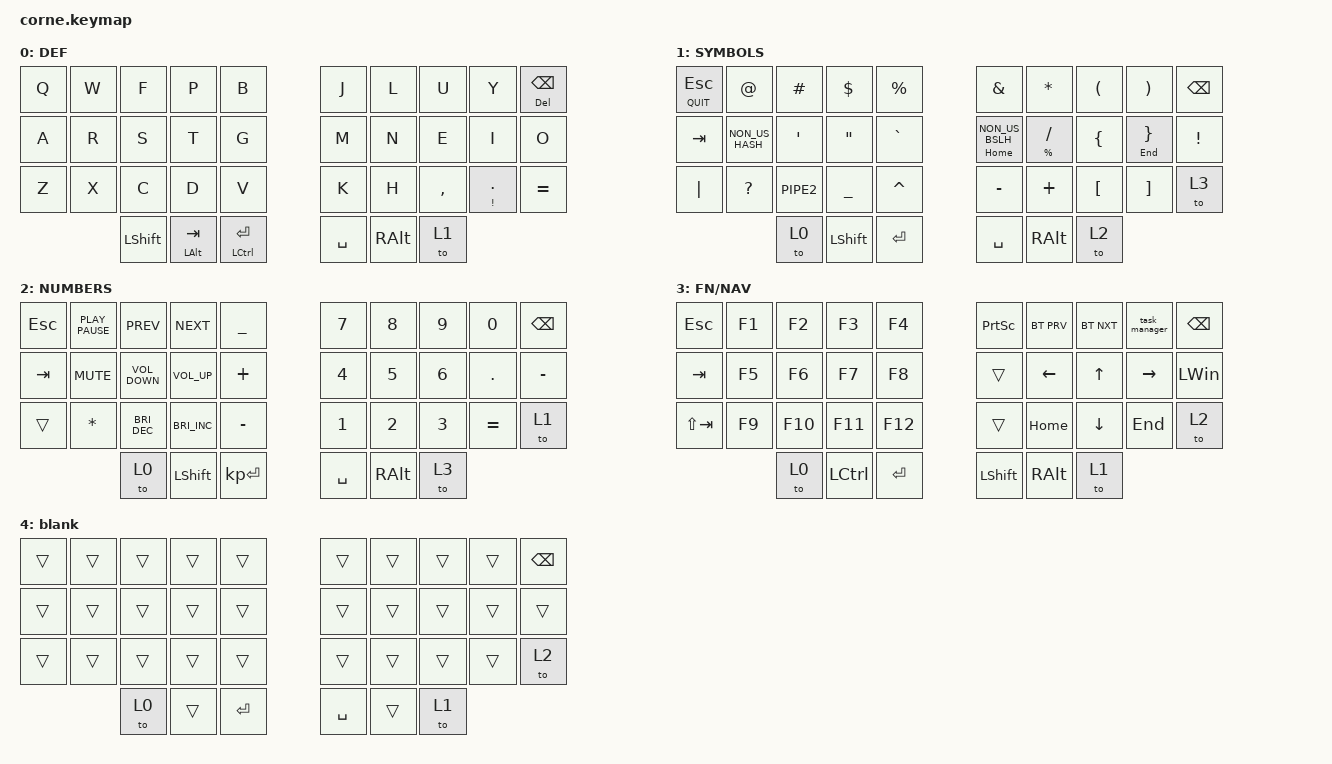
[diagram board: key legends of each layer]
/*
 * Copyright (c) 2020 The ZMK Contributors
 *
 * SPDX-License-Identifier: MIT
 */

#include <behaviors.dtsi>
#include <dt-bindings/zmk/bt.h>
#include <dt-bindings/zmk/keys.h>

#define DEFAULT_L 0

/ {
    chosen { zmk,matrix_transform = &five_column_transform; };

    macros {
        gte: gte {
            compatible = "zmk,behavior-macro";
            #binding-cells = <0>;
            bindings = <&kp GT &kp EQUAL>;
            label = "GTE";
        };

        lte: lte {
            compatible = "zmk,behavior-macro";
            #binding-cells = <0>;
            bindings = <&kp LT &kp EQUAL>;
            label = "LTE";
        };

        and: and {
            compatible = "zmk,behavior-macro";
            #binding-cells = <0>;
            bindings = <&kp AMPS &kp AMPS>;
            label = "AND";
        };

        or: or {
            compatible = "zmk,behavior-macro";
            #binding-cells = <0>;
            bindings = <&kp PIPE &kp PIPE>;
            label = "OR";
        };

        euro: euro {
            compatible = "zmk,behavior-macro";
            #binding-cells = <0>;
            bindings = <&kp LC(LA(NUMBER_4))>;
            label = "EURO";
        };

        task_manager: task_manager {
            compatible = "zmk,behavior-macro";
            #binding-cells = <0>;
            bindings = <&kp LS(LC(ESCAPE))>;
            label = "TASK_MANAGER";
        };
    };

    combos {
        compatible = "zmk,combos";

        Semi-colon {
            bindings = <&kp SEMICOLON>;
            key-positions = <27 28>;
            layers = <0>;
        };

        lte {
            bindings = <&lte>;
            key-positions = <27 29>;
            layers = <0>;
        };

        gte {
            bindings = <&gte>;
            key-positions = <28 29>;
            layers = <0>;
        };

        Euro {
            bindings = <&euro>;
            key-positions = <2 3>;
            layers = <1>;
        };

        ctrl+alt+del {
            bindings = <&kp LA(LC(DELETE))>;
            key-positions = <33 34 9>;
        };

        lock {
            bindings = <&kp LG(L)>;
            key-positions = <32 33>;
        };

        colon {
            bindings = <&kp COLON>;
            key-positions = <30 28 27>;
            layers = <0>;
        };

        clipboard {
            bindings = <&kp LG(V)>;
            key-positions = <24 32 31>;
        };

        clear_bt {
            bindings = <&bt BT_CLR>;
            key-positions = <6 7>;
            layers = <3>;
        };
    };

    keymap {
        compatible = "zmk,keymap";

        ColemakDH {
            display-name = "DEF";
            bindings = <
  &kp Q  &kp W  &kp F       &kp P         &kp B              &kp J      &kp L     &kp U      &kp Y                   &mt DELETE BACKSPACE
  &kp A  &kp R  &kp S       &kp T         &kp G              &kp M      &kp N     &kp E      &kp I                   &kp O
  &kp Z  &kp X  &kp C       &kp D         &kp V              &kp K      &kp H     &kp COMMA  &mt EXCLAMATION PERIOD  &kp EQUAL
                &kp LSHIFT  &mt LALT TAB  &mt LCTRL ENTER    &kp SPACE  &kp RALT  &to 1
            >;
        };

        Symbols {
            display-name = "SYMBOLS";
            bindings = <
  &mt C_QUIT ESCAPE  &kp AT           &kp HASH        &kp DOLLAR         &kp PERCENT    &kp AMPERSAND         &kp ASTERISK       &kp LEFT_PARENTHESIS  &kp RIGHT_PARENTHESIS  &kp BACKSPACE
  &kp TAB            &kp NON_US_HASH  &kp APOSTROPHE  &kp DOUBLE_QUOTES  &kp GRAVE      &mt HOME NON_US_BSLH  &mt PERCENT SLASH  &kp LEFT_BRACE        &mt END RIGHT_BRACE    &kp EXCLAMATION
  &kp PIPE           &kp QUESTION     &kp PIPE2       &kp UNDERSCORE     &kp CARET      &kp MINUS             &kp PLUS           &kp LEFT_BRACKET      &kp RIGHT_BRACKET      &to 3
                                      &to 0           &kp LEFT_SHIFT     &kp ENTER      &kp SPACE             &kp RALT           &to 2
            >;
        };

        Numbers {
            display-name = "NUMBERS";
            bindings = <
  &kp ESC  &kp K_PLAY_PAUSE  &kp K_PREV            &kp K_NEXT            &kp UNDERSCORE    &kp N7     &kp N8    &kp N9  &kp N0     &kp BACKSPACE
  &kp TAB  &kp K_MUTE        &kp C_VOLUME_DOWN     &kp C_VOLUME_UP       &kp PLUS          &kp N4     &kp N5    &kp N6  &kp DOT    &kp MINUS
  &trans   &kp ASTERISK      &kp C_BRIGHTNESS_DEC  &kp C_BRIGHTNESS_INC  &kp MINUS         &kp N1     &kp N2    &kp N3  &kp EQUAL  &to 1
                             &to 0                 &kp LSHIFT            &kp KP_ENTER      &kp SPACE  &kp RALT  &to 3
            >;
        };

        Navigation {
            display-name = "FN/NAV";
            bindings = <
  &kp ESCAPE   &kp F1  &kp F2   &kp F3     &kp F4       &kp PRINTSCREEN  &bt BT_PRV  &bt BT_NXT  &task_manager  &kp BACKSPACE
  &kp TAB      &kp F5  &kp F6   &kp F7     &kp F8       &trans           &kp LEFT    &kp UP      &kp RIGHT      &kp LWIN
  &kp LS(TAB)  &kp F9  &kp F10  &kp F11    &kp F12      &trans           &kp HOME    &kp DOWN    &kp END        &to 2
                       &to 0    &kp LCTRL  &kp ENTER    &kp LSHFT        &kp RALT    &to 1
            >;
        };

        blank {
            bindings = <
  &trans  &trans  &trans  &trans  &trans       &trans     &trans  &trans  &trans  &kp BACKSPACE
  &trans  &trans  &trans  &trans  &trans       &trans     &trans  &trans  &trans  &trans
  &trans  &trans  &trans  &trans  &trans       &trans     &trans  &trans  &trans  &to 2
                  &to 0   &trans  &kp ENTER    &kp SPACE  &trans  &to 1
            >;
        };
    };
};
